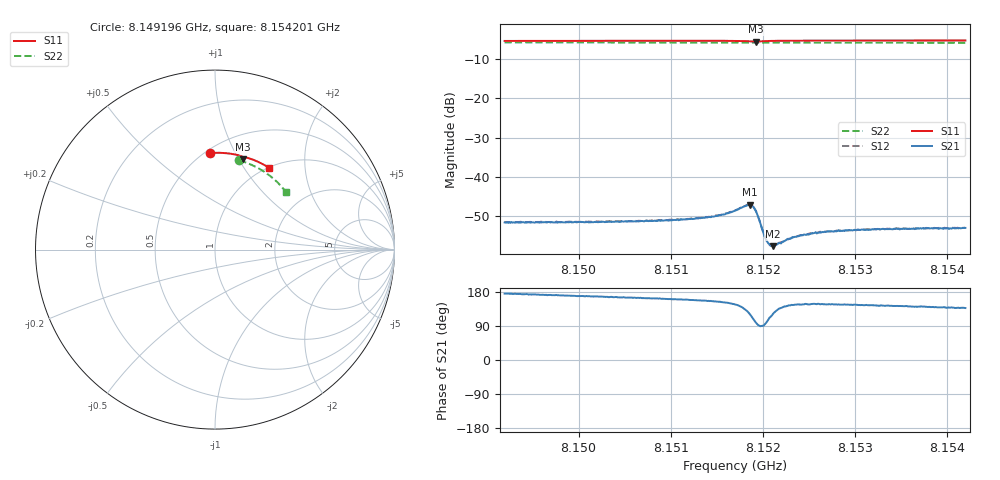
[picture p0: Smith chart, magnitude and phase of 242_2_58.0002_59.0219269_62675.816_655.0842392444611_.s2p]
#  HZ  S  RI  R  50.00
! Rohde & Schwarz Vector Network Analyzer
! Rohde-Schwarz,ZNB20-2Port,1311601062101988,3.16
! Created: UTC 3/21/2024, 1:01:06 AM
! freq[Hz]  re:S11  im:S11  re:S21  im:S21  re:S12  im:S12  re:S22  im:S22
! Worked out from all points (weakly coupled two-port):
!   401 points, 8.149196 GHz to 8.154201 GHz, reference 50 ohm
!   highest |S21| = -47.05 dB at 8.151861 GHz (marker M1); lowest = -57.6 dB at 8.152112 GHz (marker M2)
!   lowest |S11| = -5.5 dB at 8.151924 GHz (marker M3), VSWR 3.24, Z = 37.2 + j52.1 ohm
!   |S11| at or under -10 dB: nowhere
!   |S22| runs from -5.9 to -5.7 dB; largest |S21 - S12| = 0.00013
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8.1491963e9  -0.0263 0.5379  -0.00262 0.000223  -0.00267 0.000269  0.1357 0.4977
8.1500346e9  0.0324 0.539  -0.00261 0.000511  -0.00261 0.000553  0.1872 0.4798
8.150873e9  0.0911 0.5336  -0.00267 0.000856  -0.00266 0.000947  0.2361 0.4566
8.1511232e9  0.1084 0.5306  -0.00268 0.000985  -0.00268 0.00104  0.2502 0.4487
8.1514235e9  0.1298 0.5259  -0.00282 0.00129  -0.00281 0.00132  0.2668 0.4386
8.1515611e9  0.1401 0.5229  -0.00295 0.00153  -0.00291 0.00155  0.2742 0.4338
8.1516988e9  0.1506 0.5186  -0.00309 0.00205  -0.0031 0.00212  0.2816 0.4288
8.1518239e9  0.1589 0.5104  -0.00281 0.0033  -0.0028 0.00339  0.2881 0.424
8.1518614e9  0.1591 0.5068  -0.00225 0.00383  -0.00221 0.00386  0.2899 0.4225
8.1518864e9  0.158 0.5051  -0.00162 0.00398  -0.00156 0.004  0.291 0.4216
8.151924e9  0.1554 0.5047  -0.000583 0.00365  -0.00055 0.00369  0.2928 0.4201
8.151949e9  0.1545 0.5064  -0.000126 0.00314  -9.33e-05 0.00315  0.294 0.4193
8.1520116e9  0.1571 0.5112  -3.76e-05 0.00187  -3.4e-05 0.00192  0.2973 0.4172
8.1520366e9  0.1592 0.5123  -0.000223 0.00157  -0.000209 0.00159  0.2987 0.4164
8.1520491e9  0.1603 0.5129  -0.000319 0.00147  -0.000278 0.00145  0.2993 0.4158
8.1520741e9  0.1626 0.5133  -0.000518 0.0013  -0.000453 0.00128  0.3006 0.4149
8.1521117e9  0.166 0.5136  -0.000693 0.00112  -0.000687 0.00114  0.3025 0.4135
8.1523369e9  0.184 0.5104  -0.00141 0.000973  -0.0014 0.000988  0.3141 0.4046
8.1525371e9  0.1983 0.5059  -0.00162 0.00102  -0.00161 0.00104  0.3241 0.3963
8.1528499e9  0.2192 0.498  -0.00171 0.00116  -0.00174 0.00117  0.339 0.3832
8.1533754e9  0.2527 0.4829  -0.00174 0.00131  -0.00175 0.00132  0.3628 0.3598
8.1542012e9  0.3026 0.4547  -0.00165 0.00153  -0.00162 0.00154  0.3968 0.3198
